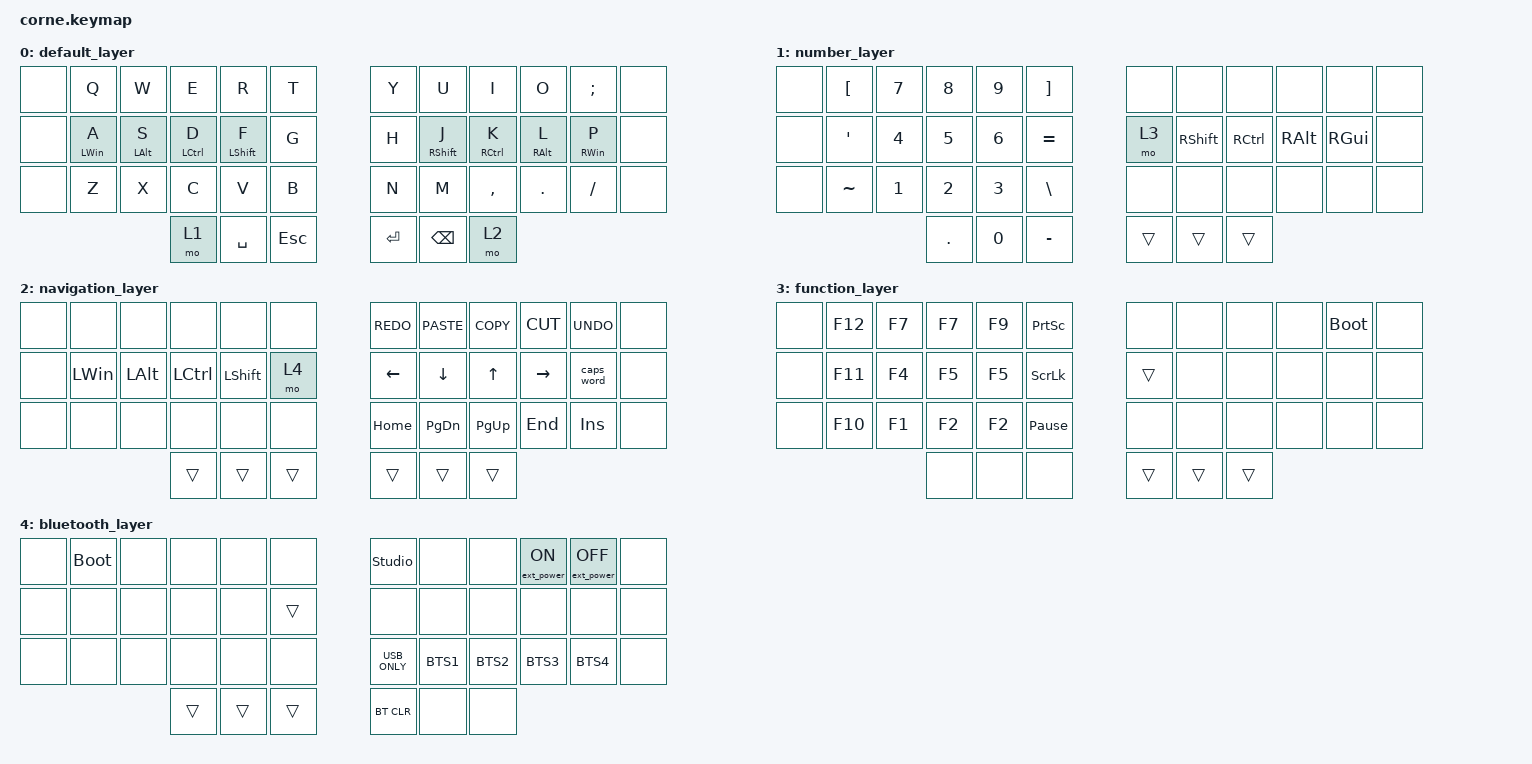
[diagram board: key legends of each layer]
/*
 * Copyright (c) 2020 The ZMK Contributors
 *
 * SPDX-License-Identifier: MIT
 */

#include <dt-bindings/zmk/mouse.h>
#include <behaviors.dtsi>
#include <dt-bindings/zmk/bt.h>
#include <dt-bindings/zmk/ext_power.h>
#include <dt-bindings/zmk/keys.h>
#include <dt-bindings/zmk/outputs.h>

#define COMBO(NAME, BINDINGS, KEYPOS) \
  combo_##NAME { \
    timeout-ms = <45>; \
    bindings = <BINDINGS>; \
    key-positions = <KEYPOS>; \
    require-prior-idle-ms = <150>; \
  };

/ {
    behaviors {
        hmr: hmr {
            compatible = "zmk,behavior-hold-tap";
            label = "HMR";
            bindings = <&kp>, <&kp>;

            #binding-cells = <2>;
            tapping-term-ms = <280>;
            quick-tap-ms = <175>;
            require-prior-idle-ms = <100>;
            flavor = "balanced";
            hold-trigger-on-release;
            hold-trigger-key-positions = <13 14 16 15 38 39>;
        };

        hml: hml {
            compatible = "zmk,behavior-hold-tap";
            label = "HML";
            bindings = <&kp>, <&kp>;

            #binding-cells = <2>;
            tapping-term-ms = <280>;
            quick-tap-ms = <175>;
            require-prior-idle-ms = <100>;
            flavor = "balanced";
            hold-trigger-on-release;
            hold-trigger-key-positions = <19 20 21 22 39 38>;
        };

        spc_morph: spc_morph {
            compatible = "zmk,behavior-mod-morph";
            label = "SPC_MORPH";
            bindings = <&kp SPACE>, <&kp TAB>;

            #binding-cells = <0>;
            mods = <(MOD_LSFT|MOD_RSFT)>;
        };

        bspc_morph: bspc_morph {
            compatible = "zmk,behavior-mod-morph";
            label = "BSPC_MORPH";
            bindings = <&kp BSPC>, <&kp DEL>;

            #binding-cells = <0>;
            mods = <(MOD_LSFT|MOD_RSFT)>;
        };

        lt_space: lt_space {
            compatible = "zmk,behavior-hold-tap";
            label = "LT_SPACE";
            bindings = <&mo>, <&spc_morph>;

            #binding-cells = <2>;
            tapping-term-ms = <200>;
            quick-tap-ms = <175>;
            flavor = "balanced";
        };

        lt_enter: lt_enter {
            compatible = "zmk,behavior-hold-tap";
            label = "LT_ENTER";
            bindings = <&mo>, <&bspc_morph>;

            #binding-cells = <2>;
            tapping-term-ms = <200>;
            quick-tap-ms = <175>;
            flavor = "balanced";
        };
    };

    combos {
        compatible = "zmk,combos";

        COMBO(escape, &kp ESC, 0 1)
        COMBO(tilde, &kp GRAVE, 10 11)
        COMBO(tab, &kp TAB, 12 13)
        COMBO(caps, &kp CAPS, 24 25)
        COMBO(delete, &kp DEL, 3 4)
        COMBO(backspace, &kp BSPC, 7 8)
        COMBO(zmkstudio, &studio_unlock, 0 1 2 3)

        lbkt_combo {
            bindings = <&kp LBKT>;
            key-positions = <28 29>;
            timeout-ms = <20>;
            require-prior-idle-ms = <150>;
        };

        rbkt_combo {
            bindings = <&kp RBKT>;
            key-positions = <30 31>;
            timeout-ms = <20>;
            require-prior-idle-ms = <150>;
        };

        lpar_combo {
            bindings = <&kp LPAR>;
            key-positions = <4 5>;
            timeout-ms = <20>;
            require-prior-idle-ms = <150>;
        };

        rpar_combo {
            bindings = <&kp RPAR>;
            key-positions = <6 7>;
            timeout-ms = <20>;
            require-prior-idle-ms = <150>;
        };

        rbrc_combo {
            bindings = <&kp RBRC>;
            key-positions = <18 19>;
            timeout-ms = <20>;
            require-prior-idle-ms = <150>;
        };

        lbrc_combo {
            bindings = <&kp LBRC>;
            key-positions = <17 16>;
            timeout-ms = <20>;
            require-prior-idle-ms = <150>;
        };

        del_combo {
            bindings = <&kp DEL>;
            key-positions = <7 8>;
            timeout-ms = <20>;
            require-prior-idle-ms = <150>;
        };

        tab_combo {
            bindings = <&kp TAB>;
            key-positions = <4 3>;
            timeout-ms = <20>;
            require-prior-idle-ms = <150>;
        };
    };

    macros {
        USB_ONLY: USB_ONLY {
            compatible = "zmk,behavior-macro";
            #binding-cells = <0>;
            bindings = <&bt BT_SEL 0 &bt BT_DISC 1 &bt BT_DISC 2 &bt BT_DISC 3 &bt BT_DISC 4 &out OUT_USB &bt BT_CLR>;
            label = "USB_ONLY";
        };

        BTS1: BTS1 {
            compatible = "zmk,behavior-macro";
            #binding-cells = <0>;
            bindings = <&bt BT_SEL 1 &bt BT_DISC 0 &bt BT_DISC 2 &bt BT_DISC 3 &bt BT_DISC 4 &out OUT_BLE>;
            label = "BTS1";
        };

        BTS2: BTS2 {
            compatible = "zmk,behavior-macro";
            #binding-cells = <0>;
            bindings = <&bt BT_SEL 2 &bt BT_DISC 0 &bt BT_DISC 1 &bt BT_DISC 3 &bt BT_DISC 4 &out OUT_BLE>;
            label = "BTS2";
        };

        BTS3: BTS3 {
            compatible = "zmk,behavior-macro";
            #binding-cells = <0>;
            bindings = <&bt BT_SEL 3 &bt BT_DISC 0 &bt BT_DISC 1 &bt BT_DISC 2 &bt BT_DISC 4 &out OUT_BLE>;
            label = "BTS3";
        };

        BTS4: BTS4 {
            compatible = "zmk,behavior-macro";
            #binding-cells = <0>;
            bindings = <&bt BT_SEL 4 &bt BT_DISC 0 &bt BT_DISC 1 &bt BT_DISC 2 &bt BT_DISC 3 &out OUT_BLE>;
            label = "BTS4";
        };
    };

    keymap {
        compatible = "zmk,keymap";

        default_layer {
            bindings = <
&none  &kp Q        &kp W        &kp E         &kp R          &kp T      &kp Y      &kp U         &kp I         &kp O        &kp SEMI     &none
&none  &hml LWIN A  &hml LALT S  &hml LCTRL D  &hml LSHIFT F  &kp G      &kp H      &hmr RSHFT J  &hmr RCTRL K  &hmr RALT L  &hmr RWIN P  &none
&none  &kp Z        &kp X        &kp C         &kp V          &kp B      &kp N      &kp M         &kp COMMA     &kp DOT      &kp SLASH    &none
                                 &mo 1         &kp SPACE      &kp ESC    &kp ENTER  &kp BSPC      &mo 2
            >;
        };

        number_layer {
            bindings = <
&none  &kp LBKT          &kp N7  &kp N8   &kp N9  &kp RBKT     &none   &none       &none      &none     &none     &none
&none  &kp SINGLE_QUOTE  &kp N4  &kp N5   &kp N6  &kp EQUAL    &mo 3   &kp RSHIFT  &kp RCTRL  &kp RALT  &kp RGUI  &none
&none  &kp TILDE         &kp N1  &kp N2   &kp N3  &kp BSLH     &none   &none       &none      &none     &none     &none
                                 &kp DOT  &kp N0  &kp MINUS    &trans  &trans      &trans
            >;
        };

        navigation_layer {
            bindings = <
&none  &none     &none     &none      &none      &none     &kp K_REDO  &kp K_PASTE  &kp K_COPY  &kp K_CUT  &kp K_UNDO  &none
&none  &kp LWIN  &kp LALT  &kp LCTRL  &kp LSHFT  &mo 4     &kp LEFT    &kp DOWN     &kp UP      &kp RIGHT  &caps_word  &none
&none  &none     &none     &none      &none      &none     &kp HOME    &kp PG_DN    &kp PG_UP   &kp END    &kp INSERT  &none
                           &trans     &trans     &trans    &trans      &trans       &trans
            >;
        };

        function_layer {
            bindings = <
&none  &kp F12  &kp F7  &kp F7  &kp F9  &kp PRINTSCREEN    &none   &none   &none   &none  &bootloader  &none
&none  &kp F11  &kp F4  &kp F5  &kp F5  &kp SCROLLLOCK     &trans  &none   &none   &none  &none        &none
&none  &kp F10  &kp F1  &kp F2  &kp F2  &kp PAUSE_BREAK    &none   &none   &none   &none  &none        &none
                        &none   &none   &none              &trans  &trans  &trans
            >;
        };

        bluetooth_layer {
            bindings = <
&none  &bootloader  &none  &none   &none   &none     &studio_unlock  &none  &none  &ext_power EP_ON  &ext_power EP_OFF  &none
&none  &none        &none  &none   &none   &trans    &none           &none  &none  &none             &none              &none
&none  &none        &none  &none   &none   &none     &USB_ONLY       &BTS1  &BTS2  &BTS3             &BTS4              &none
                           &trans  &trans  &trans    &bt BT_CLR      &none  &none
            >;
        };
    };
};
